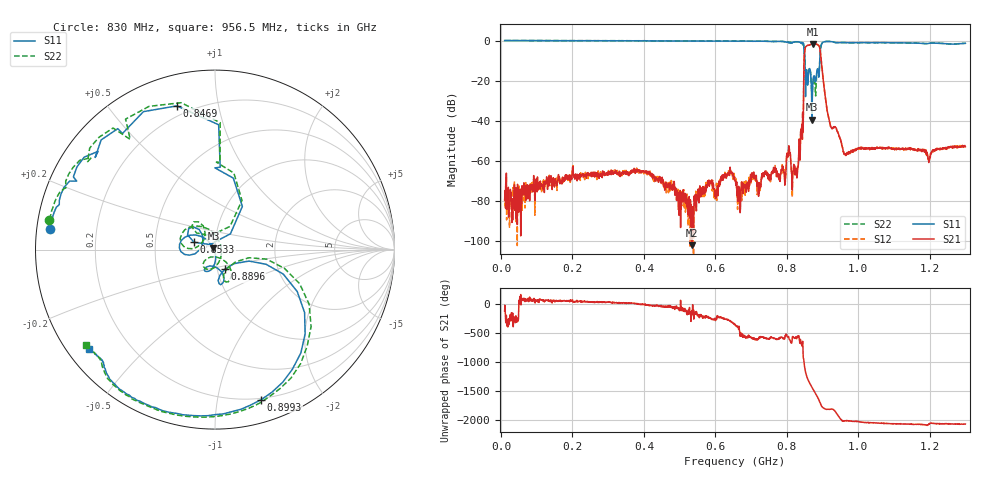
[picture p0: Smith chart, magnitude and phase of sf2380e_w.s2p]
# Hz S RI R 50
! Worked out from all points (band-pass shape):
!   1601 points, 10 MHz to 1.3 GHz, reference 50 ohm
!   highest |S21| = -1.66 dB at 872.7 MHz (marker M1); lowest = -102.2 dB at 534.1 MHz (marker M2)
!   |S21| within 3 dB of the highest: 850.7 MHz to 893.1 MHz (42.37 MHz wide, 4.86 % of centre)
!   lowest |S11| = -39.4 dB at 870.3 MHz (marker M3), VSWR 1.02, Z = 49.1 + j0.624 ohm
!   |S11| at or under -10 dB: 850.7 MHz to 892.2 MHz (41.52 MHz wide, 4.76 % of centre)
!   |S22| runs from -28.1 to 0.0 dB; largest |S21 - S12| = 0.0035
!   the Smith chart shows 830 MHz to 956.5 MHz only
!   S11 on the Smith chart (normalised r, x): 830 MHz: 0.04, +0.06; 846.9 MHz: 0.15, +0.76; 853.3 MHz: 0.79, +0.07; 889.6 MHz: 1.09, -0.24; 899.3 MHz: 0.19, -1.34; 956.5 MHz: 0.06, -0.34
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1e7  0.9973 -0.0334  -4.02e-05 -9.65e-05  -2.94e-06 -0.000105  0.9993 -0.032
2.252688e8  0.7225 -0.6728  0.000326 0.000318  0.0003 0.00029  0.7384 -0.665
4.405375e8  0.1251 -0.9677  0.000272 -0.000112  0.000354 -0.000154  0.1353 -0.9724
5.340625e8  -0.1678 -0.9537  -2.85e-06 -7.27e-06  2.31e-05 5.9e-05  -0.1587 -0.965
6.55e8  -0.519 -0.8142  0.00031 0.000106  0.000327 0.000168  -0.5293 -0.8094
6.687062e8  -0.5532 -0.789  -0.000155 -7.84e-05  -0.000123 -0.000168  -0.5681 -0.7851
7.912562e8  -0.8812 -0.324  -0.000395 0.000333  -0.000426 0.000441  -0.9004 -0.288
8.049625e8  -0.8554 -0.1975  -0.0019 0.000644  -0.00183 0.000694  -0.9012 -0.1637
8.299562e8  -0.9218 0.1141  -0.000497 0.000195  -0.000709 0.000112  -0.9221 0.1669
8.396312e8  -0.789 0.4052  0.0034 0.00526  0.00344 0.00526  -0.7526 0.4982
8.468875e8  -0.2127 0.8007  -0.0406 0.0242  -0.0406 0.0241  -0.1885 0.8186
8.533375e8  -0.1166 0.0409  -0.2616 -0.6576  -0.261 -0.6573  -0.1027 0.0926
8.638188e8  -0.1974 0.0299  0.0992 0.7647  0.0995 0.7652  -0.1848 0.0882
8.702688e8  -0.00866 0.00635  0.8077 0.1367  0.8083 0.1382  0.0324 0.0223
8.726875e8  -0.00201 -0.0791  0.7917 -0.2351  0.7915 -0.2362  0.018 -0.0758
8.799438e8  -0.028 -0.0908  -0.0314 -0.8241  -0.0292 -0.824  -0.0223 -0.0411
8.896188e8  0.0542 -0.1092  -0.6756 0.3125  -0.676 0.3123  0.069 -0.1045
8.992938e8  0.2571 -0.8362  0.1514 0.0882  0.1519 0.0886  0.3015 -0.8202
9.1945e8  -0.476 -0.8116  0.00928 -0.00189  0.00922 -0.00202  -0.4795 -0.8177
9.565375e8  -0.701 -0.5514  -0.00176 0.00119  -0.00169 0.00119  -0.7173 -0.5332
1.085538e9  -0.8665 -0.1491  -0.000518 0.00208  -0.000553 0.0021  -0.8723 -0.0915
1.3e9  -0.8063 0.2663  -0.000176 0.00225  -0.000311 0.00234  -0.7795 0.3486
